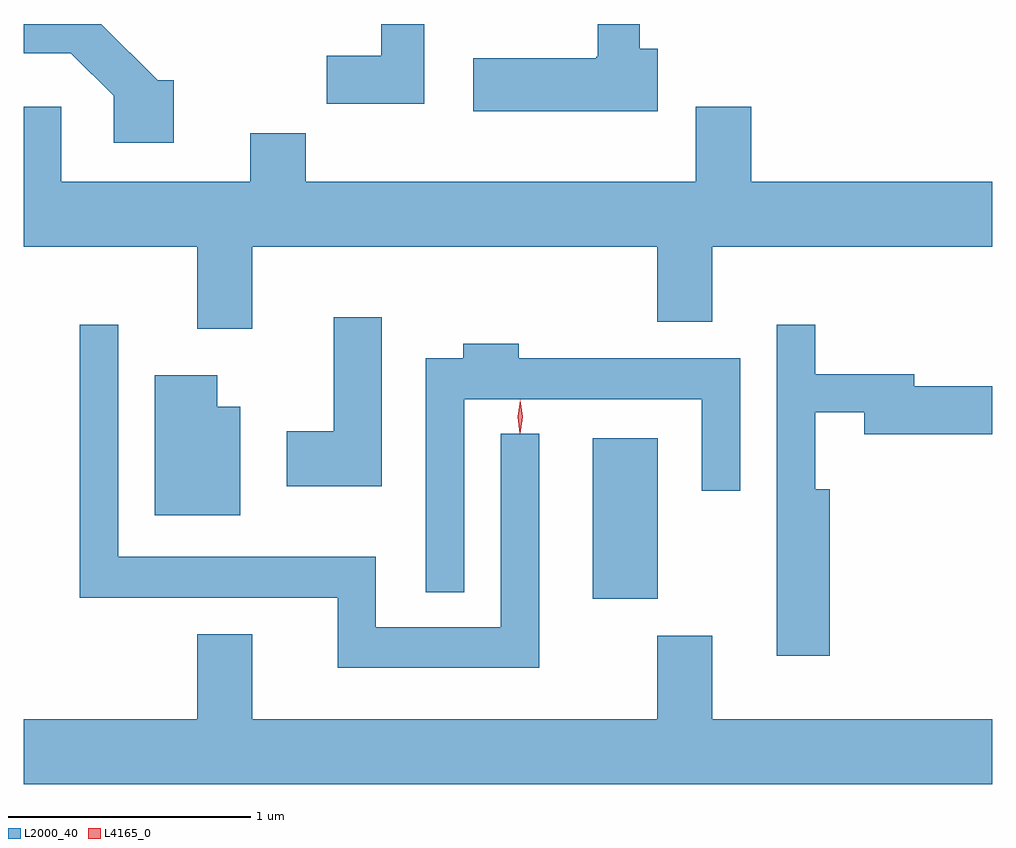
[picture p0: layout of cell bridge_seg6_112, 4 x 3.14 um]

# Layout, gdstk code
import gdstk
lib = gdstk.Library(unit=1e-6, precision=1e-09)
def R(c, l, rs):  # rectangles x0, y0, x1, y1
    for r in rs: c.add(gdstk.rectangle(r[:2], r[2:], *l))
def P(c, l, *ps):  # polygons
    for p in ps: c.add(gdstk.Polygon(p, *l))
L2000_40 = (2000, 40)
L4165_0 = (4165, 0)

bridge_seg6_112 = lib.new_cell('bridge_seg6_112')
R(bridge_seg6_112, L2000_40, [(1092.526,1608.521,1092.794,1609.184)])
P(bridge_seg6_112, L2000_40, [(1090.794,1610.664),(1090.727,1610.664),(1090.495,1610.896),(1090.175,1610.896),(1090.175,1610.776),(1090.369,1610.776),(1090.546,1610.599),(1090.546,1610.406),(1090.794,1610.406)],
  [(1091.829,1610.896),(1091.651,1610.896),(1091.651,1610.764),(1091.426,1610.764),(1091.426,1610.566),(1091.829,1610.566)],
  [(1092.794,1610.794),(1092.719,1610.794),(1092.719,1610.896),(1092.546,1610.896),(1092.546,1610.76),(1092.54,1610.76),(1092.54,1610.754),(1092.031,1610.754),(1092.031,1610.536),(1092.794,1610.536)],
  [(1092.951,1610.244),(1091.339,1610.244),(1091.339,1610.444),(1091.111,1610.444),(1091.111,1610.244),(1090.329,1610.244),(1090.329,1610.554),(1090.175,1610.554),(1090.175,1609.976),(1090.891,1609.976),(1090.891,1609.636),(1091.119,1609.636),(1091.119,1609.976),(1092.791,1609.976),(1092.791,1609.666),(1093.019,1609.666),(1093.019,1609.976),(1094.175,1609.976),(1094.175,1610.244),(1093.179,1610.244),(1093.179,1610.554),(1092.951,1610.554)],
  [(1091.654,1609.684),(1091.456,1609.684),(1091.456,1609.214),(1091.261,1609.214),(1091.261,1608.986),(1091.654,1608.986)],
  [(1093.504,1608.974),(1093.444,1608.974),(1093.444,1609.291),(1093.646,1609.291),(1093.646,1609.201),(1094.175,1609.201),(1094.175,1609.399),(1093.854,1609.399),(1093.854,1609.449),(1093.444,1609.449),(1093.444,1609.653),(1093.286,1609.653),(1093.286,1608.286),(1093.504,1608.286)],
  [(1092.304,1609.203),(1092.146,1609.203),(1092.146,1608.404),(1091.629,1608.404),(1091.629,1608.694),(1090.564,1608.694),(1090.564,1609.653),(1090.406,1609.653),(1090.406,1608.526),(1091.471,1608.526),(1091.471,1608.236),(1092.304,1608.236)],
  [(1091.994,1609.346),(1092.976,1609.346),(1092.976,1608.968),(1093.134,1608.968),(1093.134,1609.514),(1092.219,1609.514),(1092.219,1609.574),(1091.991,1609.574),(1091.991,1609.514),(1091.836,1609.514),(1091.836,1608.548),(1091.994,1608.548)],
  [(1091.069,1609.314),(1090.974,1609.314),(1090.974,1609.444),(1090.716,1609.444),(1090.716,1608.866),(1091.069,1608.866)],
  [(1094.175,1608.024),(1093.019,1608.024),(1093.019,1608.369),(1092.791,1608.369),(1092.791,1608.024),(1091.119,1608.024),(1091.119,1608.374),(1090.891,1608.374),(1090.891,1608.024),(1090.175,1608.024),(1090.175,1607.756),(1094.175,1607.756)])
P(bridge_seg6_112, L4165_0, [(1092.224,1609.204),(1092.216,1609.273),(1092.225,1609.342),(1092.226,1609.343),(1092.226,1609.342),(1092.235,1609.273),(1092.226,1609.204),(1092.225,1609.204)])

lib.write_gds('bridge_seg6_112.gds')
